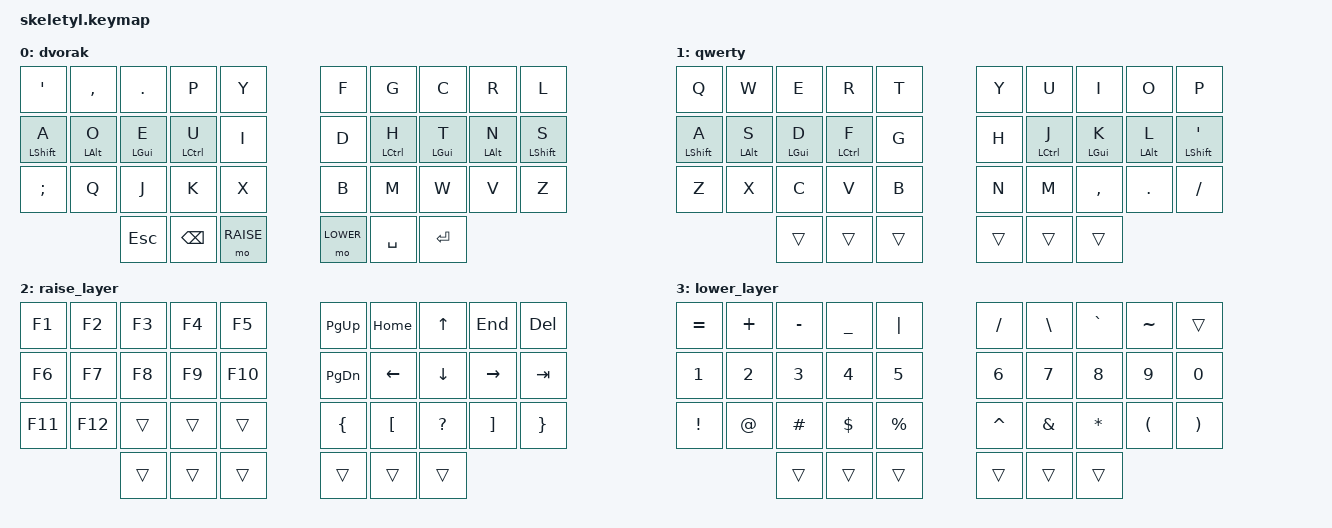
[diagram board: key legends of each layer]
#include <behaviors.dtsi>
#include <dt-bindings/zmk/keys.h>
#include <dt-bindings/zmk/bt.h>
#include <dt-bindings/zmk/outputs.h>

// Modified keymap based on personal experience, with some improvements based on Miryoku layout.

#define DVORAK  0
#define QWERTY  1
#define RAISE   2
#define LOWER   3

/ {
    behaviors {
        hm: homerow_mods {
            compatible = "zmk,behavior-hold-tap";
            label = "HOMEROW_MODS";
            #binding-cells = <2>;
            tapping-term-ms = <200>;
            quick-tap-ms = <0>;
            flavor = "balanced";
            bindings = <&kp>, <&kp>;
        };
    };

    combos {
        compatible = "zmk,combos";

        // Combo for toggling the Qwerty layout
        combo_tg_qwerty {
            timeout-ms = <50>;
            key-positions = <6 7 8>;
            bindings = <&tog QWERTY>;
        };

        // Combo for toggling output
        combo_tg_output {
            timeout-ms = <50>;
            key-positions = <0 4>;
            bindings = <&out OUT_TOG>;
        };

        // Combo for reseting bluetooth
        combo_tg_bt_reset {
            timeout-ms = <50>;
            key-positions = <10 14>;
            bindings = <&bt BT_CLR>;
        };

        // Combo for bootloader reset
        combo_bootloader_reset_left {
            timeout-ms = <50>;
            key-positions = <20 24>;
            bindings = <&bootloader>;
        };

        combo_bootloader_reset_right {
            timeout-ms = <50>;
            key-positions = <25 29>;
            bindings = <&bootloader>;
        };

        // Combo for bluetooth control (i.e. switch among the devices).
        combo_bt_next {
            timeout-ms = <50>;
            key-positions = <27 28>;
            bindings = <&bt BT_NXT>;
        };
        combo_bt_prev {
            timeout-ms = <50>;
            key-positions = <26 27>;
            bindings = <&bt BT_PRV>;
        };

    };

    keymap {
        compatible = "zmk,keymap";

 /* Base (dvorak)
 * ,---------------------------------------,                                  ,---------------------------------------,
 * |   '   |   ,   |   .   |   p   |   y   |                                  |   f   |   g   |   c   |   r   |   l   | 
 * |-------+-------+-------+-------+-------|                                  |-------+-------+-------+-------+-------|
 * |   a   |   o   |   e   |   u   |   i   |                                  |   d   |   h   |   t   |   n   |   s   |
 * |-------+-------+-------+-------+-------|                                  |------ +-------+-------+-------+-------|
 * |   ;   |   q   |   j   |   k   |   x   |                                  |   b   |   m   |   w   |   v   |   z   |
 * '-------------------------------------------------------,  ,-------------------------------------------------------'
 *                                 |  ESC  |  BS   | RAISE |  | LOWER | SPACE | ENTER |
 *                                 '-----------------------'  '-----------------------'
 */

        dvorak {
            bindings = <
    &kp SQT        &kp COMMA      &kp DOT        &kp P          &kp Y          &kp F          &kp G           &kp C          &kp R          &kp L
    &hm LSHFT A    &hm LALT O     &hm LGUI E     &hm LCTRL U    &kp I          &kp D          &hm LCTRL H     &hm LGUI T     &hm LALT N     &hm LSHFT S
    &kp SEMI       &kp Q          &kp J          &kp K          &kp X          &kp B          &kp M           &kp W          &kp V          &kp Z
                                  &kp ESC        &kp BSPC       &mo RAISE      &mo LOWER      &kp SPACE       &kp RET
            >;
        };

        qwerty {
            bindings = <
    &kp Q          &kp W          &kp E          &kp R          &kp T          &kp Y          &kp U           &kp I          &kp O          &kp P
    &hm LSHFT A    &hm LALT S     &hm LGUI D     &hm LCTRL F    &kp G          &kp H          &hm LCTRL J     &hm LGUI K     &hm LALT L     &hm LSHFT SQT
    &kp Z          &kp X          &kp C          &kp V          &kp B          &kp N          &kp M           &kp COMMA      &kp DOT        &kp FSLH 
                                  &trans         &trans         &trans         &trans         &trans         &trans
            >;
        };

 /* Raise
 * ,---------------------------------------,                                  ,---------------------------------------,
 * |   F1  |  F2   |  F3   |  F4   |  F5   |                                  |  PGUP |  HOME |  up   |  END  |  DEL  | 
 * |-------+-------+-------+-------+-------|                                  |-------+-------+-------+-------+-------|
 * |   F6  |  F7   |  F8   |  F9   |  F10  |                                  |  PGDN |  left |  down | right |  TAB  |
 * |-------+-------+-------+-------+-------|                                  |------ +-------+-------+-------+-------|
 * |  F11  |  F12  |       |       |       |                                  |   {   |   [   |   ?   |   ]   |   }   |
 * '-------------------------------------------------------,  ,-------------------------------------------------------'
 *                                 |       |       |       |  |       |       |       |
 *                                 '-----------------------'  '-----------------------'
 */

        raise_layer {
            bindings = <
    &kp F1         &kp F2         &kp F3         &kp F4         &kp F5         &kp PG_UP      &kp HOME       &kp UP          &kp END        &kp DEL
    &kp F6         &kp F7         &kp F8         &kp F9         &kp F10        &kp PG_DN      &kp LEFT       &kp DOWN        &kp RIGHT      &kp TAB
    &kp F11        &kp F12        &trans         &trans         &trans         &kp LBRC       &kp LBKT       &kp QMARK       &kp RBKT       &kp RBRC
                                  &trans         &trans         &trans         &trans         &trans         &trans
            >;
        };

 /* Lower
 * ,---------------------------------------,                                   ,---------------------------------------,
 * |   =   |   +   |   -   |   _   |   |   |                                   |   /   |   \   |   `   |   ~   |       | 
 * |-------+-------+-------+-------+-------|                                   |-------+-------+-------+-------+-------|
 * |   1   |   2   |   3   |   4   |   5   |                                   |   6   |   7   |   8   |   9   |   0   |
 * |-------+-------+-------+-------+-------|                                   |------ +-------+-------+-------+-------|
 * |   !   |   @   |   #   |   $   |   %   |                                   |   ^   |   &   |   *   |   (   |   )   |
 * '-------------------------------------------------------,  ,--------------------------------------------------------'
 *                                 |       |       |       |  |       |       |       |
 *                                 '-----------------------'  '-----------------------'
 */

        lower_layer {
            bindings = <
    &kp EQUAL      &kp PLUS       &kp MINUS      &kp UNDER      &kp PIPE       &kp FSLH       &kp BSLH       &kp GRAVE       &kp TILDE      &trans
    &kp N1         &kp N2         &kp N3         &kp N4         &kp N5         &kp N6         &kp N7         &kp N8          &kp N9         &kp N0
    &kp EXCL       &kp AT         &kp HASH       &kp DLLR       &kp PRCNT      &kp CARET      &kp AMPS       &kp ASTRK       &kp LPAR       &kp RPAR
                                  &trans         &trans         &trans         &trans         &trans         &trans
            >;
        };

    };
};
